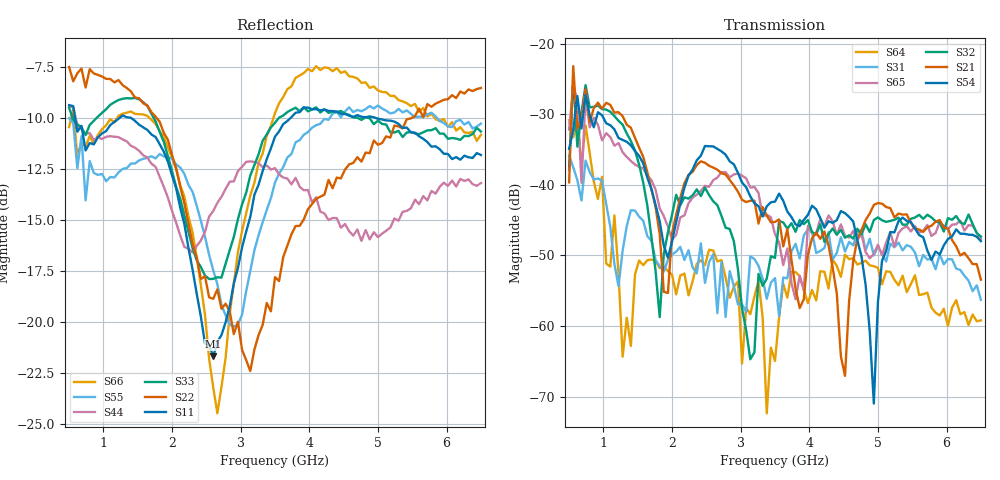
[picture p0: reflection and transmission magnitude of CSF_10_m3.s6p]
!Keysight Technologies,M9804A,MY58100912,A.14.10.03
!Date: Thursday, April 27, 2023 10:28:33
!Correction: S11(C  6-Port  )
!S12(C  6-Port  )
!S13(C  6-Port  )
!S14(C  6-Port  )
!S15(C  6-Port  )
!S16(C  6-Port  )
!S21(C  6-Port  )
!S22(C  6-Port  )
!S23(C  6-Port  )
!S24(C  6-Port  )
!S25(C  6-Port  )
!S26(C  6-Port  )
!S31(C  6-Port  )
!S32(C  6-Port  )
!S33(C  6-Port  )
!S34(C  6-Port  )
!S35(C  6-Port  )
!S36(C  6-Port  )
!S41(C  6-Port  )
!S42(C  6-Port  )
!S43(C  6-Port  )
!S44(C  6-Port  )
!S45(C  6-Port  )
!S46(C  6-Port  )
!S51(C  6-Port  )
!S52(C  6-Port  )
!S53(C  6-Port  )
!S54(C  6-Port  )
!S55(C  6-Port  )
!S56(C  6-Port  )
!S61(C  6-Port  )
!S62(C  6-Port  )
!S63(C  6-Port  )
!S64(C  6-Port  )
!S65(C  6-Port  )
!S66(C  6-Port  )
!S6P File: Measurement: :
# Hz S  RI  R 50
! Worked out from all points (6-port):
!   101 points, 500 MHz to 6.5 GHz, reference 50 ohm
!   strongest paths, dB at 500 MHz, 2 GHz, 3.5 GHz, 5 GHz, 6.5 GHz:
!     S54: -34.9, -48.1, -42.4, -56.6, -48.0
!     S21: -39.7, -46.9, -45.3, -42.6, -53.4
!     S32: -37.8, -44.2, -50.4, -44.6, -47.3
!     S65: -32.1, -47.8, -47.0, -48.5, -47.7
!     S31: -35.8, -49.9, -53.2, -48.8, -56.3
!     S64: -30.8, -52.7, -65.0, -51.8, -59.2
!   lowest |S11| = -21.7 dB at 2.6 GHz (marker M1), VSWR 1.18, Z = 42.7 + j2.1 ohm
!   |S11| at or under -10 dB: 587.9 MHz to 1.234 GHz (646.4 MHz wide, 71 % of centre); 1.405 GHz to 3.726 GHz (2.321 GHz wide, 90.5 % of centre); 4.969 GHz to end of sweep
